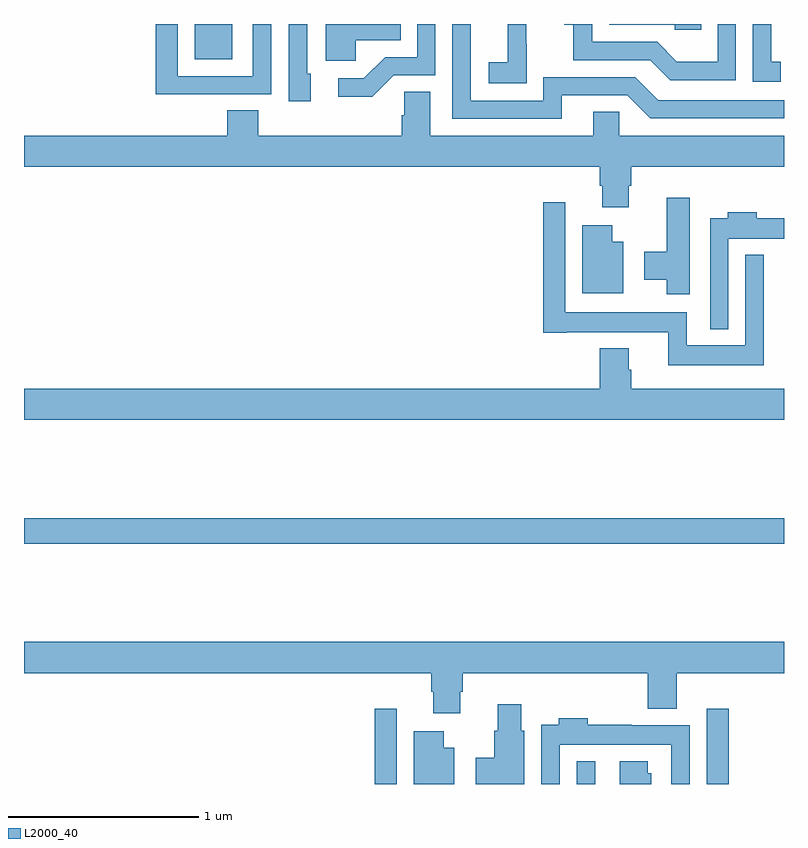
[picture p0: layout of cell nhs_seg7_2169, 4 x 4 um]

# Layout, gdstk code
import gdstk
lib = gdstk.Library(unit=1e-6, precision=1e-09)
def R(c, l, rs):  # rectangles x0, y0, x1, y1
    for r in rs: c.add(gdstk.rectangle(r[:2], r[2:], *l))
def P(c, l, *ps):  # polygons
    for p in ps: c.add(gdstk.Polygon(p, *l))
L2000_40 = (2000, 40)

nhs_seg7_2169 = lib.new_cell('nhs_seg7_2169')
R(nhs_seg7_2169, L2000_40, [(254.845,1032,254.961,1032.397), (255.909,1032,256.006,1032.121), (256.593,1032,256.709,1032.397), (253,1033.264,257,1033.4), (253.898,1035.815,254.095,1036)])
P(nhs_seg7_2169, L2000_40, [(255.829,1035.624),(256.176,1035.624),(256.296,1035.504),(257,1035.504),(257,1035.6),(256.338,1035.6),(256.218,1035.72),(255.732,1035.72),(255.732,1035.597),(255.351,1035.597),(255.351,1036),(255.255,1036),(255.255,1035.501),(255.829,1035.501)],
  [(255.645,1035.895),(255.644,1035.895),(255.644,1036),(255.545,1036),(255.545,1035.799),(255.447,1035.799),(255.447,1035.689),(255.645,1035.689)],
  [(253.985,1035.63),(254.301,1035.63),(254.301,1036),(254.205,1036),(254.205,1035.726),(253.809,1035.726),(253.809,1036),(253.693,1036),(253.693,1035.629),(253.985,1035.629)],
  [(254.946,1035.729),(255.165,1035.729),(255.165,1036),(255.069,1036),(255.069,1035.825),(254.9,1035.825),(254.789,1035.714),(254.655,1035.714),(254.655,1035.617),(254.833,1035.617)],
  [(254.745,1035.914),(254.984,1035.914),(254.984,1036),(254.588,1036),(254.588,1035.806),(254.745,1035.806)],
  [(256.746,1036),(256.65,1036),(256.65,1035.802),(256.436,1035.802),(256.332,1035.906),(255.99,1035.906),(255.99,1036),(255.843,1036),(255.843,1035.995),(255.892,1035.995),(255.892,1035.81),(256.295,1035.81),(256.4,1035.705),(256.746,1035.705)],
  [(256.982,1035.801),(256.933,1035.801),(256.933,1036),(256.836,1036),(256.836,1035.696),(256.982,1035.696)],
  [(256.565,1036),(256.08,1036),(256.08,1035.996),(256.425,1035.996),(256.425,1035.969),(256.565,1035.969)],
  [(254.509,1035.738),(254.49,1035.738),(254.49,1036),(254.394,1036),(254.394,1035.594),(254.509,1035.594)],
  [(256.183,1035.15),(256.196,1035.15),(256.196,1035.248),(257,1035.248),(257,1035.412),(256.134,1035.412),(256.134,1035.539),(255.995,1035.539),(255.995,1035.412),(255.139,1035.412),(255.139,1035.644),(255,1035.644),(255,1035.521),(254.987,1035.521),(254.987,1035.412),(254.234,1035.412),(254.234,1035.545),(254.069,1035.545),(254.069,1035.412),(253,1035.412),(253,1035.248),(256.031,1035.248),(256.031,1035.15),(256.043,1035.15),(256.043,1035.036),(256.183,1035.036)],
  [(256.504,1035.085),(256.382,1035.085),(256.382,1034.802),(256.265,1034.802),(256.265,1034.654),(256.382,1034.654),(256.382,1034.577),(256.504,1034.577)],
  [(256.894,1034.785),(256.797,1034.785),(256.797,1034.308),(256.488,1034.308),(256.488,1034.482),(255.849,1034.482),(255.849,1035.061),(255.733,1035.061),(255.733,1034.376),(255.856,1034.376),(255.856,1034.378),(256.391,1034.378),(256.391,1034.204),(256.894,1034.204)],
  [(256.707,1034.87),(257,1034.87),(257,1034.977),(256.856,1034.977),(256.856,1035.01),(256.703,1035.01),(256.703,1034.977),(256.611,1034.977),(256.611,1034.393),(256.707,1034.393)],
  [(256.153,1034.854),(256.096,1034.854),(256.096,1034.941),(255.938,1034.941),(255.938,1034.582),(256.153,1034.582)],
  [(257,1034.08),(256.196,1034.08),(256.196,1034.181),(256.183,1034.181),(256.183,1034.293),(256.031,1034.293),(256.031,1034.08),(253,1034.08),(253,1033.916),(257,1033.916)],
  [(255.295,1032.486),(255.308,1032.486),(255.308,1032.584),(256.283,1032.584),(256.283,1032.395),(256.435,1032.395),(256.435,1032.584),(257,1032.584),(257,1032.748),(253,1032.748),(253,1032.584),(255.143,1032.584),(255.143,1032.486),(255.155,1032.486),(255.155,1032.372),(255.295,1032.372)],
  [(255.634,1032.279),(255.616,1032.279),(255.616,1032.421),(255.494,1032.421),(255.494,1032.279),(255.476,1032.279),(255.476,1032.138),(255.377,1032.138),(255.377,1032),(255.634,1032)],
  [(255.819,1032.206),(256.407,1032.206),(256.407,1032),(256.503,1032),(256.503,1032.31),(256.199,1032.31),(256.199,1032.313),(255.968,1032.313),(255.968,1032.346),(255.815,1032.346),(255.815,1032.313),(255.723,1032.313),(255.723,1032),(255.819,1032)],
  [(255.265,1032.19),(255.208,1032.19),(255.208,1032.277),(255.05,1032.277),(255.05,1032),(255.265,1032)],
  [(256.3,1032.057),(256.282,1032.057),(256.282,1032.121),(256.136,1032.121),(256.136,1032),(256.3,1032)])

lib.write_gds('nhs_seg7_2169.gds')
